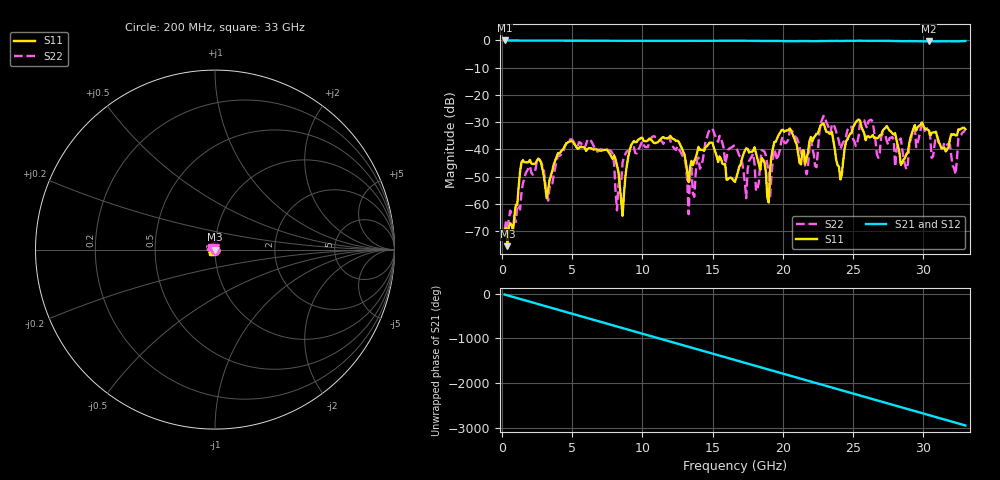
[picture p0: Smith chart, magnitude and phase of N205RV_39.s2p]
# GHZ S RI R 50
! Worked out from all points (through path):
!   329 points, 200 MHz to 33 GHz, reference 50 ohm
!   highest |S21| = -0.02 dB at 200 MHz (marker M1); lowest = -0.4 dB at 30.4 GHz (marker M2)
!   group delay of S21, straight-line fit = 248 ps
!   lowest |S11| = -75.6 dB at 400 MHz (marker M3), VSWR 1.00, Z = 50 - j0.00735 ohm
!   |S11| at or under -10 dB: start of sweep to end of sweep
!   |S22| runs from -69.7 to -27.7 dB; largest |S21 - S12| = 0.0019
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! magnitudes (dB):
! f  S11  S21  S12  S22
! 200 MHz  -69.8  0.0  0.0  -69.7
! 400 MHz  -75.6  0.0  0.0  -68.3
! 1.5 GHz  -44.0  -0.1  -0.1  -52.5
! 3.2 GHz  -58.0  -0.1  -0.1  -55.9
! 5.7 GHz  -39.2  -0.1  -0.1  -38.2
! 7.9 GHz  -43.6  -0.1  -0.1  -41.7
! 8.2 GHz  -45.9  -0.1  -0.1  -62.4
! 8.6 GHz  -64.4  -0.1  -0.1  -44.8
! 9.2 GHz  -38.6  -0.1  -0.1  -39.5
! 11.2 GHz  -36.8  -0.2  -0.2  -36.1
! 13 GHz  -41.8  -0.2  -0.2  -43.1
! 13.3 GHz  -52.0  -0.2  -0.2  -63.8
! 14.8 GHz  -37.5  -0.1  -0.1  -32.8
! 16.6 GHz  -51.9  -0.1  -0.1  -38.6
! 17.4 GHz  -39.6  -0.1  -0.1  -57.9
! 19 GHz  -59.5  -0.2  -0.2  -48.7
! 19.9 GHz  -33.0  -0.2  -0.2  -36.9
! 22.1 GHz  -37.1  -0.3  -0.3  -39.5
! 27.6 GHz  -33.1  -0.2  -0.2  -35.9
! 30.4 GHz  -33.0  -0.4  -0.4  -32.3
! 32.3 GHz  -34.9  -0.3  -0.3  -49.2
! 33 GHz  -32.6  -0.2  -0.2  -32.5
